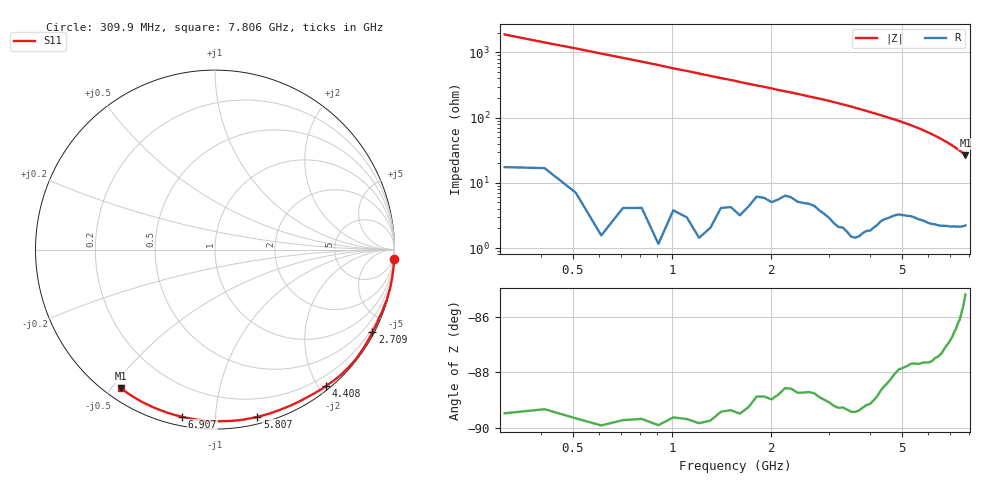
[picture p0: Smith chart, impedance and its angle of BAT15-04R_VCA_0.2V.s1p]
! Infineon Technologies  Discrete & RF Semiconductors
! BAT15-04R
! VCA = 0.2 V
! One-Port S-Parameters
# Hz  S  MA  R  50
!f  S11
!Hz  Mag  Ang
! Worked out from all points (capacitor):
!   76 points, 309.9 MHz to 7.806 GHz, reference 50 ohm
!   read as one part to ground: C = 273 fF near 309.9 MHz
!   lowest |Z| = 26.6 ohm at 7.806 GHz (marker M1)
!   S11 on the Smith chart (normalised r, x): 309.9 MHz: 0, -38; 2.709 GHz: 0.09, -4.07; 4.408 GHz: 0.05, -2.11; 5.807 GHz: 0.05, -1.28; 6.907 GHz: 0.04, -0.82; 7.806 GHz: 0.04, -0.53
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3.0985e8  0.9995 -3.0
9.0955e8  0.9997 -8.9
1.30935e9  0.9989 -13.1
1.6092e9  0.9975 -16.2
2.009e9  0.9938 -20.2
2.2089e9  0.9905 -22.3
2.70865e9  0.9899 -27.6
2.90855e9  0.9912 -29.9
3.2084e9  0.993 -33.5
3.50825e9  0.9939 -37.4
3.8081e9  0.9915 -41.7
4.10795e9  0.9875 -46.1
4.4078e9  0.9801 -50.7
4.70765e9  0.9733 -55.5
5.0075e9  0.968 -60.5
5.30735e9  0.964 -65.9
5.6072e9  0.9625 -71.7
5.8071e9  0.961 -75.7
6.007e9  0.9603 -80.1
6.2069e9  0.9587 -84.5
6.50675e9  0.9555 -91.5
6.70665e9  0.9524 -96.3
6.90655e9  0.9495 -101.2
7.10645e9  0.9468 -106.1
7.30635e9  0.9437 -111.1
7.50625e9  0.9407 -116.3
7.70615e9  0.9361 -121.4
7.8061e9  0.9329 -124.1
